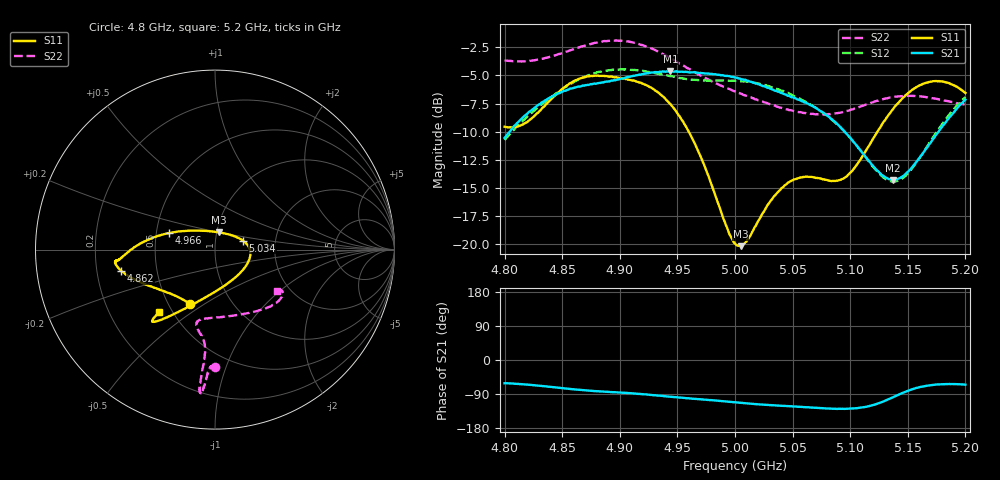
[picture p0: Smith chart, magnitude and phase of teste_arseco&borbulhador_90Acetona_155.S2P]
! Network Analyzer HP8722D
! Hewlett-Packard
! Data name: Linha & Wilkinson
! Saver's name: Rodrigo Anjos
! Comments: Teste da utilização de aquisição
! continua pelo VNA HP8722D
! Time and date: 17/4/2025 12:20
!  Frequency  S11  S21  S12  S22
# HZ  S  MA R 50
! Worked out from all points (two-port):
!   401 points, 4.8 GHz to 5.2 GHz, reference 50 ohm
!   highest |S21| = -4.61 dB at 4.944 GHz (marker M1); lowest = -14.3 dB at 5.137 GHz (marker M2)
!   |S21| within 3 dB of the highest: 4.829 GHz to 5.065 GHz (235.6 MHz wide, 4.76 % of centre); 5.195443 GHz to end of sweep
!   lowest |S11| = -20.2 dB at 5.005 GHz (marker M3), VSWR 1.22, Z = 51.1 + j9.89 ohm
!   |S11| at or under -10 dB: 4.96 GHz to 5.124 GHz (163.7 MHz wide, 3.25 % of centre)
!   |S22| runs from -8.5 to -1.9 dB; largest |S21 - S12| = 0.88
!   S11 on the Smith chart (normalised r, x): 4.8 GHz: 0.64, -0.44; 4.862 GHz: 0.31, -0.10; 4.966 GHz: 0.58, +0.11; 5.034 GHz: 1.36, +0.14; 5.2 GHz: 0.42, -0.38
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4.8e9  0.333 -114.7  0.2967 -61.3  0.2903 -175.6  0.6567 -90.2
4.819e9  0.348 -134.8  0.3781 -64.8  0.3662 -174.2  0.6514 -91.8
4.862e9  0.5361 -167.3  0.4983 -78.0  0.5328 -177.7  0.7442 -94.1
4.867e9  0.5485 -169.2  0.5048 -79.5  0.5476 -178.7  0.7569 -94.4
4.903e9  0.5457 -173.8  0.5454 -86.4  0.599 174.2  0.8003 -95.9
4.934e9  0.4698 -179.8  0.5827 -94.2  0.5725 171.2  0.7135 -96.2
4.944e9  0.419 175.5  0.5882 -96.9  0.5576 171.3  0.6717 -96.1
4.966e9  0.2737 160.5  0.58 -102.6  0.5374 173.2  0.5768 -95.4
4.994e9  0.1151 115.2  0.5589 -110.0  0.5335 175.5  0.4919 -98.4
5e9  0.1008 95.7  0.5508 -111.7  0.5328 175.7  0.4771 -99.7
5.005e9  0.09797 78.1  0.5418 -113.0  0.5294 175.6  0.4663 -100.9
5.034e9  0.1633 18.0  0.4834 -119.7  0.4958 174.3  0.4134 -104.0
5.049e9  0.1912 3.0  0.4503 -122.1  0.4625 173.6  0.3935 -100.0
5.067e9  0.1989 -16.0  0.4123 -125.4  0.4136 173.2  0.3798 -90.6
5.096e9  0.1989 -66.9  0.3128 -128.9  0.3117 174.2  0.39 -67.9
5.123e9  0.313 -109.4  0.2134 -115.9  0.2117 -170.5  0.4335 -48.7
5.134e9  0.3795 -118.2  0.1943 -102.8  0.1909 -155.7  0.4482 -43.2
5.137e9  0.3973 -120.0  0.1931 -98.6  0.1897 -150.8  0.4507 -41.9
5.15e9  0.4678 -125.8  0.2096 -81.6  0.2063 -131.2  0.4566 -37.1
5.168e9  0.5253 -130.1  0.275 -67.3  0.2783 -113.5  0.4475 -32.7
5.184e9  0.5229 -131.6  0.3549 -63.5  0.3655 -107.7  0.4333 -31.5
5.2e9  0.4702 -131.9  0.4393 -65.0  0.4507 -107.2  0.4165 -34.0
